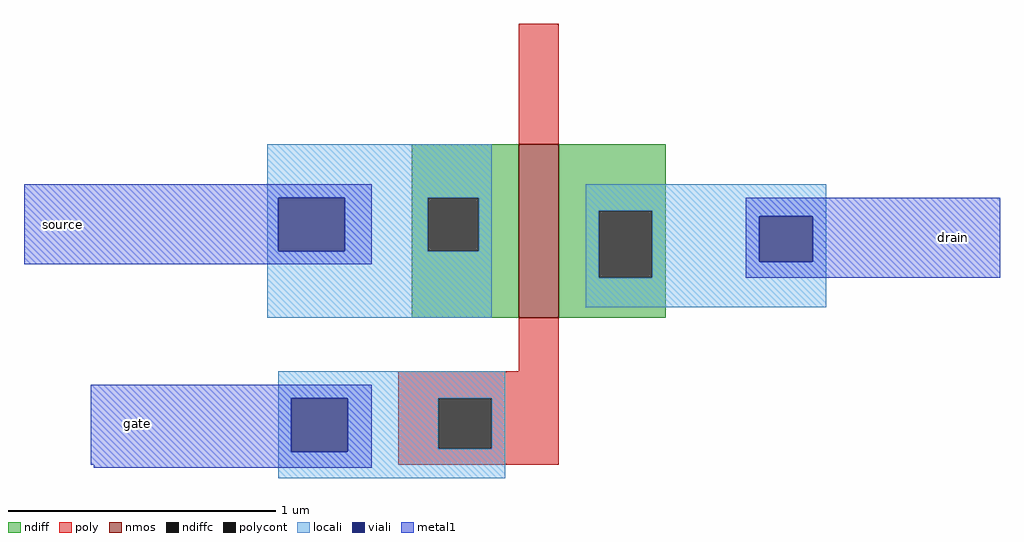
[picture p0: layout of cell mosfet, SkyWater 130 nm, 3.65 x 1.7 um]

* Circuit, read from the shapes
.subckt mosfet drain gate source
XM1 drain gate source VSUBS sky130_fd_pr__nfet_01v8 w=0.65 l=0.15
.ends

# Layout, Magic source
magic
tech sky130A
<< nmos >>
rect 40 0 55 65
<< ndiff >>
rect 0 45 40 65
rect 0 25 6 45
rect 25 25 40 45
rect 0 0 40 25
rect 55 40 95 65
rect 55 15 70 40
rect 90 15 95 40
rect 55 0 95 15
<< ndiffc >>
rect 6 25 25 45
rect 70 15 90 40
<< poly >>
rect 40 65 55 110
rect 40 -20 55 0
rect -5 -30 55 -20
rect -5 -49 10 -30
rect 30 -49 55 -30
rect -5 -55 55 -49
<< polycont >>
rect 10 -49 30 -30
<< locali >>
rect -54 45 30 65
rect -54 25 -50 45
rect -25 25 6 45
rect 25 25 30 45
rect -54 0 30 25
rect 65 40 155 50
rect 65 15 70 40
rect 90 38 155 40
rect 90 21 130 38
rect 150 21 155 38
rect 90 15 155 21
rect 65 4 155 15
rect -50 -30 35 -20
rect -50 -50 -45 -30
rect -24 -49 10 -30
rect 30 -49 35 -30
rect -24 -50 35 -49
rect -50 -60 35 -50
<< viali >>
rect -50 25 -25 45
rect 130 21 150 38
rect -45 -50 -24 -30
<< metal1 >>
rect -145 45 -15 50
rect -145 25 -50 45
rect -25 25 -15 45
rect -145 20 -15 25
rect 125 38 220 45
rect 125 21 130 38
rect 150 21 220 38
rect 125 15 220 21
rect -120 -30 -15 -25
rect -120 -50 -45 -30
rect -24 -50 -15 -30
rect -120 -55 -15 -50
rect -119 -56 -15 -55
<< labels >>
rlabel metal1 -140 25 -121 45 1 source
rlabel metal1 -115 -49 -90 -30 1 gate
rlabel metal1 190 20 215 40 1 drain
<< end >>
